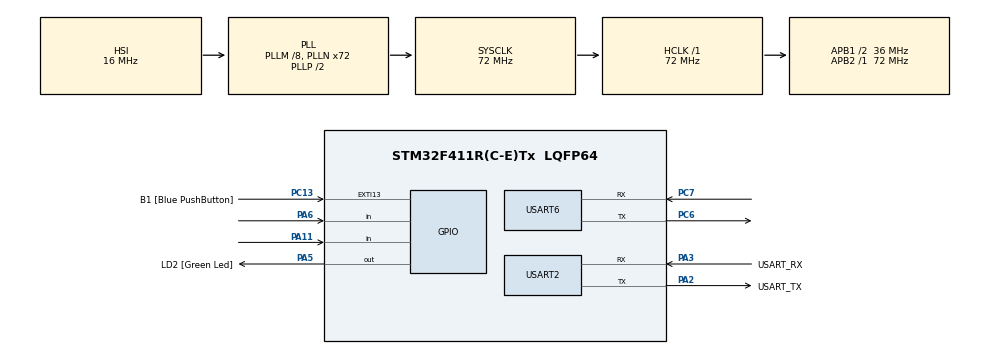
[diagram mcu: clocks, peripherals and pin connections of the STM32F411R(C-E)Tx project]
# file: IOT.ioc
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Mcu.Family=STM32F4
TIM2.Channel-Output\ Compare1\ No\ Output=TIM_CHANNEL_1
RCC.CortexFreq_Value=72000000
TIM3.Channel-Output\ Compare1\ No\ Output=TIM_CHANNEL_1
TIM3.AutoReloadPreload=TIM_AUTORELOAD_PRELOAD_DISABLE
PC13-ANTI_TAMP.GPIO_Label=B1 [Blue PushButton]
PA14.GPIO_Label=TCK
PC6.Signal=USART6_TX
RCC.APB1CLKDivider=RCC_HCLK_DIV2
PC14-OSC32_IN.Signal=RCC_OSC32_IN
RCC.SYSCLKSource=RCC_SYSCLKSOURCE_PLLCLK
ProjectManager.StackSize=0x400
PA13.Signal=SYS_JTMS-SWDIO
PA3.Mode=Asynchronous
PH0\ -\ OSC_IN.Signal=RCC_OSC_IN
ProjectManager.TargetToolchain=STM32CubeIDE
PC6.Mode=Asynchronous
RCC.HCLKFreq_Value=72000000
RCC.APB2TimFreq_Value=72000000
TIM3.Period=10000
PC7.Signal=USART6_RX
RCC.LSE_VALUE=32768
PC15-OSC32_OUT.Signal=RCC_OSC32_OUT
RCC.AHBFreq_Value=72000000
PA5.Signal=GPIO_Output
RCC.HSE_VALUE=8000000
VP_TIM2_VS_no_output1.Mode=Output Compare1 No Output
PH1\ -\ OSC_OUT.Signal=RCC_OSC_OUT
board=NUCLEO-F411RE
VP_TIM3_VS_no_output1.Mode=Output Compare1 No Output
PC13-ANTI_TAMP.Signal=GPXTI13
RCC.VCOOutputFreq_Value=144000000
NVIC.TIM3_IRQn=true\:0\:0\:false\:false\:true\:true\:true
RCC.APB2Freq_Value=72000000
VP_TIM2_VS_ClockSourceINT.Mode=Internal
PA14.Mode=Serial_Wire
TIM3.Prescaler=10000
NVIC.TIM2_IRQn=true\:0\:0\:false\:false\:true\:true\:true
TIM2.Period=10000
PA13.Mode=Serial_Wire
Mcu.Name=STM32F411R(C-E)Tx
PA2.Signal=USART2_TX
PA13.GPIO_Label=TMS
RCC.FLatency-AdvancedSettings=FLASH_LATENCY_2
RCC.48MHZClocksFreq_Value=36000000
PB3.Signal=SYS_JTDO-SWO
RCC.SYSCLKFreq_VALUE=72000000
Mcu.Package=LQFP64
TIM2.Prescaler=20000
PA6.Signal=GPIO_Input
PA5.GPIO_Label=LD2 [Green Led]
USART2.VirtualMode=VM_ASYNC
USART6.VirtualMode=VM_ASYNC
PC13-ANTI_TAMP.GPIO_ModeDefaultEXTI=GPIO_MODE_IT_FALLING
PA2.GPIO_Label=USART_TX
PA11.Signal=GPIO_Input
PA14.Signal=SYS_JTCK-SWCLK
ProjectManager.HeapSize=0x200
RCC.HSI_VALUE=16000000
NVIC.PriorityGroup=NVIC_PRIORITYGROUP_0
RCC.PLLM=8
RCC.PLLN=72
RCC.APB1TimFreq_Value=72000000
PA2.Mode=Asynchronous
PC7.Mode=Asynchronous
RCC.APB1Freq_Value=36000000
VP_TIM3_VS_ClockSourceINT.Mode=Internal
PA3.GPIO_Label=USART_RX
PA3.Signal=USART2_RX
PB3.GPIO_Label=SWO

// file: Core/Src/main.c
/* USER CODE BEGIN Header */
/**
  ******************************************************************************
  * @file           : main.c
  * @brief          : Main program body
  ******************************************************************************
  * @attention
  *
  * <h2><center>&copy; Copyright (c) 2021 STMicroelectronics.
  * All rights reserved.</center></h2>
  *
  * This software component is licensed by ST under BSD 3-Clause license,
  * the "License"; You may not use this file except in compliance with the
  * License. You may obtain a copy of the License at:
  *                        opensource.org/licenses/BSD-3-Clause
  *
  ******************************************************************************
  */
/* USER CODE END Header */
#include "main.h"

TIM_HandleTypeDef htim2;
TIM_HandleTypeDef htim3;

UART_HandleTypeDef huart2;
UART_HandleTypeDef huart6;

/* USER CODE BEGIN PV */

int send = 0;
int wait = 1;
const FULL = 3;
struct IR{
    int    state;   /* AD result of measured voltage */
    int    timer;   /* AD result of measured current */
};

struct IR ir;
/* USER CODE END PV */

void SystemClock_Config(void);
static void MX_GPIO_Init(void);
static void MX_USART2_UART_Init(void);
static void MX_TIM3_Init(void);
static void MX_USART6_UART_Init(void);
static void MX_TIM2_Init(void);
/* USER CODE BEGIN PFP */
void StartDefaultTask(void *argument);
int amount=FULL;
int start = 0;
void updateData(){

	char buf[5];
	if (amount > 0) {
		sprintf(buf,"%d,",amount);
	}else{
		sprintf(buf,"999,");
	}
	HAL_UART_Transmit(&huart6,&buf,strlen(buf),100);

}

void checkIR(){

	char time[10];

	int found = 0;
	if (HAL_GPIO_ReadPin (GPIOA, GPIO_PIN_6)!=GPIO_PIN_SET)
		found = 1;

	char tmp[10];
	if (found == 1){

		if (ir.state == 0){
			ir.state = 1;
			__HAL_TIM_SET_COUNTER(&htim2,0);
		}
	}
	else {
		ir.state = 0;
		HAL_GPIO_WritePin(GPIOA, GPIO_PIN_5, GPIO_PIN_RESET);
		send = 0;
	}
}

/* USER CODE END PFP */

int main(void)
{

  /* MCU Configuration--------------------------------------------------------*/

  /* Reset of all peripherals, Initializes the Flash interface and the Systick. */
  HAL_Init();

  /* Configure the system clock */
  SystemClock_Config();

  /* Initialize all configured peripherals */
  MX_GPIO_Init();
  MX_USART2_UART_Init();
  MX_TIM3_Init();
  MX_USART6_UART_Init();
  MX_TIM2_Init();
  /* USER CODE BEGIN 2 */
  HAL_TIM_Base_Start_IT(&htim2);
  HAL_TIM_Base_Start_IT(&htim3);
  ir.state = 0;
  ir.timer = 1800;
  char buf[5];
  sprintf(buf,"%d,",amount);
  HAL_UART_Transmit(&huart6,&buf,strlen(buf),HAL_MAX_DELAY);
  /* USER CODE END 2 */

  /* Infinite loop */
  while (1)
  {

    /* USER CODE BEGIN 3 */
	 int rec = 0;
	 char fill[2];

	  if (HAL_UART_Receive(&huart6,&fill,strlen(fill),1000)==HAL_OK){
	  		//if (fill[0]=='1'){
	  			HAL_UART_Transmit(&huart2,"ok",strlen("ok"),100);
	  			HAL_UART_Transmit(&huart2,fill,strlen(fill),100);
	  			rec = 1;
	  			amount+=atoi(fill);
	  			//fill[0] = '9';
	  		//}
	  }
	  if (rec==1){
	  	sprintf(buf,"%d,",amount);
	  	HAL_UART_Transmit(&huart6,&buf,strlen(buf),100);
	  }
	checkIR();

	HAL_Delay(100);

  }
  /* USER CODE END 3 */
}

void SystemClock_Config(void)
{
  RCC_OscInitTypeDef RCC_OscInitStruct = {0};
  RCC_ClkInitTypeDef RCC_ClkInitStruct = {0};

  /** Configure the main internal regulator output voltage
  */
  __HAL_RCC_PWR_CLK_ENABLE();
  __HAL_PWR_VOLTAGESCALING_CONFIG(PWR_REGULATOR_VOLTAGE_SCALE1);
  /** Initializes the RCC Oscillators according to the specified parameters
  * in the RCC_OscInitTypeDef structure.
  */
  RCC_OscInitStruct.OscillatorType = RCC_OSCILLATORTYPE_HSI;
  RCC_OscInitStruct.HSIState = RCC_HSI_ON;
  RCC_OscInitStruct.HSICalibrationValue = RCC_HSICALIBRATION_DEFAULT;
  RCC_OscInitStruct.PLL.PLLState = RCC_PLL_ON;
  RCC_OscInitStruct.PLL.PLLSource = RCC_PLLSOURCE_HSI;
  RCC_OscInitStruct.PLL.PLLM = 8;
  RCC_OscInitStruct.PLL.PLLN = 72;
  RCC_OscInitStruct.PLL.PLLP = RCC_PLLP_DIV2;
  RCC_OscInitStruct.PLL.PLLQ = 4;
  if (HAL_RCC_OscConfig(&RCC_OscInitStruct) != HAL_OK)
  {
    Error_Handler();
  }
  /** Initializes the CPU, AHB and APB buses clocks
  */
  RCC_ClkInitStruct.ClockType = RCC_CLOCKTYPE_HCLK|RCC_CLOCKTYPE_SYSCLK
                              |RCC_CLOCKTYPE_PCLK1|RCC_CLOCKTYPE_PCLK2;
  RCC_ClkInitStruct.SYSCLKSource = RCC_SYSCLKSOURCE_PLLCLK;
  RCC_ClkInitStruct.AHBCLKDivider = RCC_SYSCLK_DIV1;
  RCC_ClkInitStruct.APB1CLKDivider = RCC_HCLK_DIV2;
  RCC_ClkInitStruct.APB2CLKDivider = RCC_HCLK_DIV1;

  if (HAL_RCC_ClockConfig(&RCC_ClkInitStruct, FLASH_LATENCY_2) != HAL_OK)
  {
    Error_Handler();
  }
}

static void MX_TIM2_Init(void)
{

  TIM_ClockConfigTypeDef sClockSourceConfig = {0};
  TIM_MasterConfigTypeDef sMasterConfig = {0};
  TIM_OC_InitTypeDef sConfigOC = {0};

  htim2.Instance = TIM2;
  htim2.Init.Prescaler = 20000;
  htim2.Init.CounterMode = TIM_COUNTERMODE_UP;
  htim2.Init.Period = 10000;
  htim2.Init.ClockDivision = TIM_CLOCKDIVISION_DIV1;
  htim2.Init.AutoReloadPreload = TIM_AUTORELOAD_PRELOAD_DISABLE;
  if (HAL_TIM_Base_Init(&htim2) != HAL_OK)
  {
    Error_Handler();
  }
  sClockSourceConfig.ClockSource = TIM_CLOCKSOURCE_INTERNAL;
  if (HAL_TIM_ConfigClockSource(&htim2, &sClockSourceConfig) != HAL_OK)
  {
    Error_Handler();
  }
  if (HAL_TIM_OC_Init(&htim2) != HAL_OK)
  {
    Error_Handler();
  }
  sMasterConfig.MasterOutputTrigger = TIM_TRGO_RESET;
  sMasterConfig.MasterSlaveMode = TIM_MASTERSLAVEMODE_DISABLE;
  if (HAL_TIMEx_MasterConfigSynchronization(&htim2, &sMasterConfig) != HAL_OK)
  {
    Error_Handler();
  }
  sConfigOC.OCMode = TIM_OCMODE_TIMING;
  sConfigOC.Pulse = 0;
  sConfigOC.OCPolarity = TIM_OCPOLARITY_HIGH;
  sConfigOC.OCFastMode = TIM_OCFAST_DISABLE;
  if (HAL_TIM_OC_ConfigChannel(&htim2, &sConfigOC, TIM_CHANNEL_1) != HAL_OK)
  {
    Error_Handler();
  }

}

static void MX_TIM3_Init(void)
{

  TIM_ClockConfigTypeDef sClockSourceConfig = {0};
  TIM_MasterConfigTypeDef sMasterConfig = {0};
  TIM_OC_InitTypeDef sConfigOC = {0};

  htim3.Instance = TIM3;
  htim3.Init.Prescaler = 10000;
  htim3.Init.CounterMode = TIM_COUNTERMODE_UP;
  htim3.Init.Period = 10000;
  htim3.Init.ClockDivision = TIM_CLOCKDIVISION_DIV1;
  htim3.Init.AutoReloadPreload = TIM_AUTORELOAD_PRELOAD_DISABLE;
  if (HAL_TIM_Base_Init(&htim3) != HAL_OK)
  {
    Error_Handler();
  }
  sClockSourceConfig.ClockSource = TIM_CLOCKSOURCE_INTERNAL;
  if (HAL_TIM_ConfigClockSource(&htim3, &sClockSourceConfig) != HAL_OK)
  {
    Error_Handler();
  }
  if (HAL_TIM_OC_Init(&htim3) != HAL_OK)
  {
    Error_Handler();
  }
  sMasterConfig.MasterOutputTrigger = TIM_TRGO_RESET;
  sMasterConfig.MasterSlaveMode = TIM_MASTERSLAVEMODE_DISABLE;
  if (HAL_TIMEx_MasterConfigSynchronization(&htim3, &sMasterConfig) != HAL_OK)
  {
    Error_Handler();
  }
  sConfigOC.OCMode = TIM_OCMODE_TIMING;
  sConfigOC.Pulse = 0;
  sConfigOC.OCPolarity = TIM_OCPOLARITY_HIGH;
  sConfigOC.OCFastMode = TIM_OCFAST_DISABLE;
  if (HAL_TIM_OC_ConfigChannel(&htim3, &sConfigOC, TIM_CHANNEL_1) != HAL_OK)
  {
    Error_Handler();
  }

}

static void MX_USART2_UART_Init(void)
{

  huart2.Instance = USART2;
  huart2.Init.BaudRate = 115200;
  huart2.Init.WordLength = UART_WORDLENGTH_8B;
  huart2.Init.StopBits = UART_STOPBITS_1;
  huart2.Init.Parity = UART_PARITY_NONE;
  huart2.Init.Mode = UART_MODE_TX_RX;
  huart2.Init.HwFlowCtl = UART_HWCONTROL_NONE;
  huart2.Init.OverSampling = UART_OVERSAMPLING_16;
  if (HAL_UART_Init(&huart2) != HAL_OK)
  {
    Error_Handler();
  }

}

static void MX_USART6_UART_Init(void)
{

  huart6.Instance = USART6;
  huart6.Init.BaudRate = 115200;
  huart6.Init.WordLength = UART_WORDLENGTH_8B;
  huart6.Init.StopBits = UART_STOPBITS_1;
  huart6.Init.Parity = UART_PARITY_NONE;
  huart6.Init.Mode = UART_MODE_TX_RX;
  huart6.Init.HwFlowCtl = UART_HWCONTROL_NONE;
  huart6.Init.OverSampling = UART_OVERSAMPLING_16;
  if (HAL_UART_Init(&huart6) != HAL_OK)
  {
    Error_Handler();
  }

}

static void MX_GPIO_Init(void)
{
  GPIO_InitTypeDef GPIO_InitStruct = {0};

  /* GPIO Ports Clock Enable */
  __HAL_RCC_GPIOC_CLK_ENABLE();
  __HAL_RCC_GPIOH_CLK_ENABLE();
  __HAL_RCC_GPIOA_CLK_ENABLE();
  __HAL_RCC_GPIOB_CLK_ENABLE();

  /*Configure GPIO pin Output Level */
  HAL_GPIO_WritePin(LD2_GPIO_Port, LD2_Pin, GPIO_PIN_RESET);

  /*Configure GPIO pin : B1_Pin */
  GPIO_InitStruct.Pin = B1_Pin;
  GPIO_InitStruct.Mode = GPIO_MODE_IT_FALLING;
  GPIO_InitStruct.Pull = GPIO_NOPULL;
  HAL_GPIO_Init(B1_GPIO_Port, &GPIO_InitStruct);

  /*Configure GPIO pin : LD2_Pin */
  GPIO_InitStruct.Pin = LD2_Pin;
  GPIO_InitStruct.Mode = GPIO_MODE_OUTPUT_PP;
  GPIO_InitStruct.Pull = GPIO_NOPULL;
  GPIO_InitStruct.Speed = GPIO_SPEED_FREQ_LOW;
  HAL_GPIO_Init(LD2_GPIO_Port, &GPIO_InitStruct);

  /*Configure GPIO pins : PA6 PA11 */
  GPIO_InitStruct.Pin = GPIO_PIN_6|GPIO_PIN_11;
  GPIO_InitStruct.Mode = GPIO_MODE_INPUT;
  GPIO_InitStruct.Pull = GPIO_NOPULL;
  HAL_GPIO_Init(GPIOA, &GPIO_InitStruct);

}

/* USER CODE BEGIN 4 */
void HAL_TIM_PeriodElapsedCallback(TIM_HandleTypeDef *htim){
	//update every 20 second
	if (htim->Instance==TIM3)
		updateData();
	else if (htim->Instance==TIM2){
		if (ir.state == 1){
			ir.state = 2;
			if (amount > 0) {
				amount -= 1;
				send = 1;
				HAL_GPIO_WritePin(GPIOA, GPIO_PIN_5, GPIO_PIN_SET);
			}else{
				send = 0;
				HAL_GPIO_WritePin(GPIOA, GPIO_PIN_5, GPIO_PIN_RESET);
			}
		}
	}

}
/* USER CODE END 4 */

void Error_Handler(void)
{
  __disable_irq();
  while (1)
  {
  }
}

/************************ (C) COPYRIGHT STMicroelectronics *****END OF FILE****/
